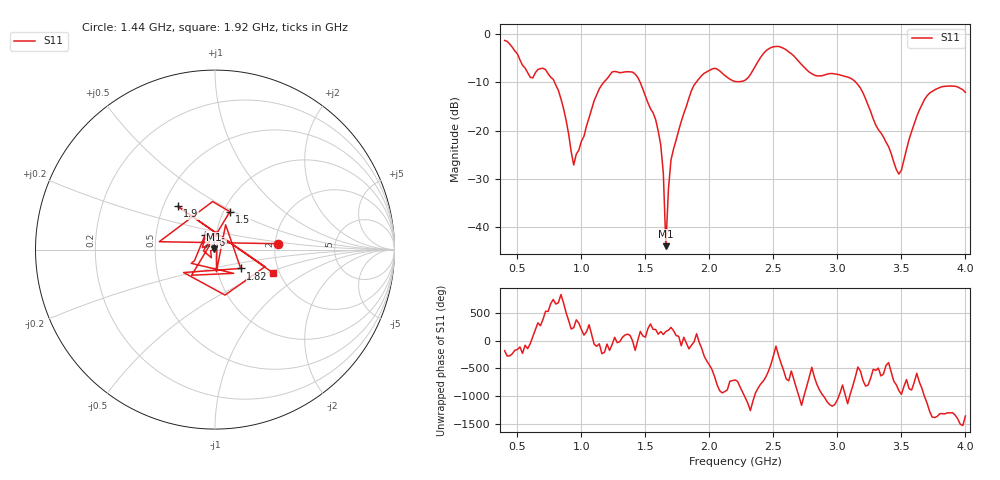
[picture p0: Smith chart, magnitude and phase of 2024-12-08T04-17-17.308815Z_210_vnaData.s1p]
!Created with skrf (http://scikit-rf.org).
# Hz S RI R 50.0
!freq ReS11 ImS11
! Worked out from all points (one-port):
!   181 points, 400 MHz to 4 GHz, reference 50 ohm
!   lowest |S11| = -43.9 dB at 1.66 GHz (marker M1), VSWR 1.01, Z = 49.4 + j0.0926 ohm
!   |S11| at or under -10 dB: 789.9 MHz to 1.176 GHz (385.9 MHz wide, 39.3 % of centre); 1.459 GHz to 1.897 GHz (438.7 MHz wide, 26.1 % of centre); 3.143 GHz to end of sweep
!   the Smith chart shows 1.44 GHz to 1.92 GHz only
!   S11 on the Smith chart (normalised r, x): 1.44 GHz: 2.09, +0.16; 1.5 GHz: 1.07, +0.48; 1.6 GHz: 0.88, +0.15; 1.82 GHz: 1.30, -0.28; 1.9 GHz: 0.59, +0.32; 1.92 GHz: 1.84, -0.54
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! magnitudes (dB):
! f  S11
! 400 MHz  -1.4
! 600 MHz  -9.0
! 720 MHz  -7.4
! 860 MHz  -15.4
! 940 MHz  -27.1
! 1.14 GHz  -11.4
! 1.3 GHz  -8.1
! 1.44 GHz  -9.0
! 1.5 GHz  -12.9
! 1.6 GHz  -20.1
! 1.64 GHz  -28.8
! 1.66 GHz  -43.9
! 1.68 GHz  -32.1
! 1.7 GHz  -26.1
! 1.76 GHz  -20.0
! 1.82 GHz  -15.0
! 1.9 GHz  -9.9
! 1.92 GHz  -9.2
! 2.04 GHz  -7.1
! 2.2 GHz  -9.9
! 2.48 GHz  -2.9
! 2.66 GHz  -4.6
! 2.82 GHz  -8.5
! 3.1 GHz  -9.1
! 3.48 GHz  -29.0
! 3.56 GHz  -21.9
! 3.72 GHz  -12.3
! 4 GHz  -12.1
